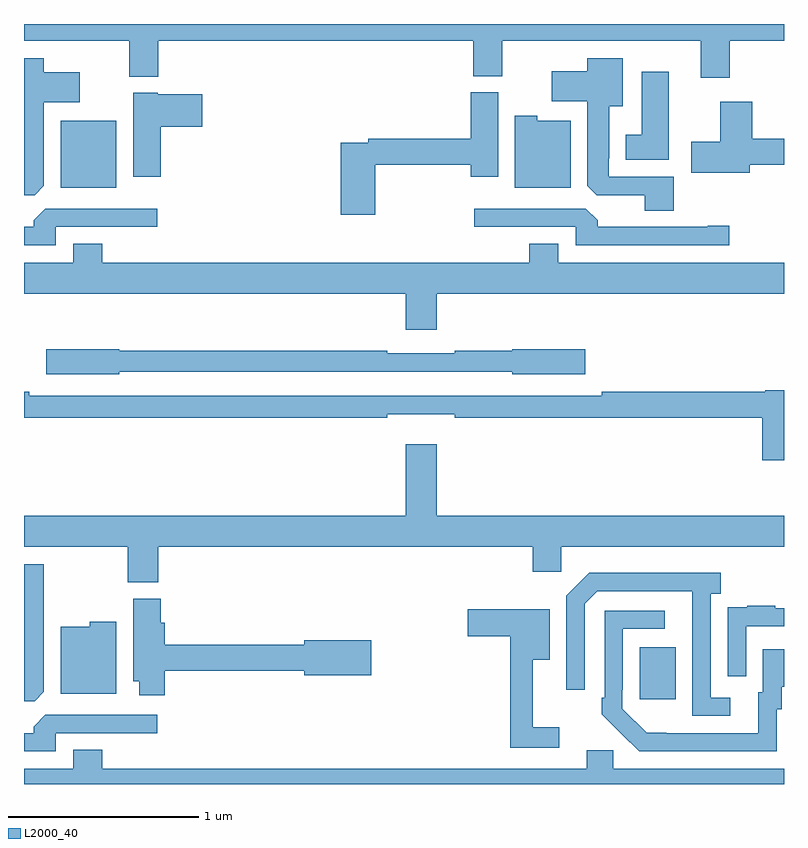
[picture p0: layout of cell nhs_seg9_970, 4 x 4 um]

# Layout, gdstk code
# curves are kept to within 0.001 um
import gdstk
lib = gdstk.Library(unit=1e-6, precision=1e-09)
def R(c, l, rs):  # rectangles x0, y0, x1, y1
    for r in rs: c.add(gdstk.rectangle(r[:2], r[2:], *l))
def P(c, l, *ps):  # polygons
    for p in ps: c.add(gdstk.Polygon(p, *l))
L2000_40 = (2000, 40)

nhs_seg9_970 = lib.new_cell('nhs_seg9_970')
R(nhs_seg9_970, L2000_40, [(166.241,1200.945,166.429,1201.219), (163.193,1203.638,163.486,1203.991)])
P(nhs_seg9_970, L2000_40, [(166.715,1204.412),(167,1204.412),(167,1204.5),(163,1204.5),(163,1204.412),(163.553,1204.412),(163.553,1204.223),(163.706,1204.223),(163.706,1204.412),(165.365,1204.412),(165.365,1204.225),(165.517,1204.225),(165.517,1204.412),(166.562,1204.412),(166.562,1204.218),(166.715,1204.218)],
  [(163.105,1203.649),(163.105,1204.088),(163.294,1204.088),(163.294,1204.246),(163.105,1204.246),(163.105,1204.321),(163,1204.321),(163,1203.6),(163.056,1203.6)],
  [(166.421,1203.696),(166.077,1203.696),(166.077,1203.793),(166.081,1203.793),(166.081,1204.067),(166.15,1204.067),(166.15,1204.321),(165.965,1204.321),(165.965,1204.252),(165.777,1204.252),(165.777,1204.094),(165.965,1204.094),(165.965,1203.649),(166.014,1203.6),(166.268,1203.6),(166.268,1203.517),(166.421,1203.517)],
  [(166.393,1204.249),(166.25,1204.249),(166.25,1203.916),(166.166,1203.916),(166.166,1203.785),(166.393,1203.785)],
  [(164.849,1203.76),(165.35,1203.76),(165.35,1203.696),(165.496,1203.696),(165.496,1204.14),(165.35,1204.14),(165.35,1203.896),(164.812,1203.896),(164.812,1203.876),(164.666,1203.876),(164.666,1203.495),(164.849,1203.495)],
  [(163.721,1203.959),(163.939,1203.959),(163.939,1204.129),(163.704,1204.129),(163.704,1204.138),(163.574,1204.138),(163.574,1203.696),(163.721,1203.696)],
  [(166.819,1203.76),(167,1203.76),(167,1203.896),(166.832,1203.896),(166.832,1204.09),(166.664,1204.09),(166.664,1203.879),(166.512,1203.879),(166.512,1203.716),(166.819,1203.716)],
  [(165.877,1203.991),(165.702,1203.991),(165.702,1204.018),(165.584,1204.018),(165.584,1203.638),(165.877,1203.638)],
  [(166.711,1203.437),(166.598,1203.437),(166.598,1203.432),(166.019,1203.432),(166.019,1203.466),(165.957,1203.528),(165.369,1203.528),(165.369,1203.432),(165.903,1203.432),(165.903,1203.336),(166.711,1203.336)],
  [(163.167,1203.432),(163.702,1203.432),(163.702,1203.528),(163.113,1203.528),(163.052,1203.466),(163.052,1203.432),(163,1203.432),(163,1203.336),(163.167,1203.336)],
  [(165.172,1203.08),(167,1203.08),(167,1203.244),(165.811,1203.244),(165.811,1203.343),(165.659,1203.343),(165.659,1203.244),(163.412,1203.244),(163.412,1203.343),(163.259,1203.343),(163.259,1203.244),(163,1203.244),(163,1203.08),(165.008,1203.08),(165.008,1202.892),(165.172,1202.892)],
  [(163.5,1202.67),(165.57,1202.67),(165.57,1202.657),(165.955,1202.657),(165.955,1202.787),(165.57,1202.787),(165.57,1202.779),(165.268,1202.779),(165.268,1202.766),(164.912,1202.766),(164.912,1202.779),(163.5,1202.779),(163.5,1202.787),(163.116,1202.787),(163.116,1202.657),(163.5,1202.657)],
  [(167,1202.572),(166.902,1202.572),(166.902,1202.564),(166.042,1202.564),(166.042,1202.544),(163.028,1202.544),(163.028,1202.564),(163,1202.564),(163,1202.428),(164.912,1202.428),(164.912,1202.447),(165.268,1202.447),(165.268,1202.428),(166.886,1202.428),(166.886,1202.205),(167,1202.205)],
  [(163.706,1201.748),(165.677,1201.748),(165.677,1201.617),(165.828,1201.617),(165.828,1201.748),(167,1201.748),(167,1201.912),(165.172,1201.912),(165.172,1202.287),(165.008,1202.287),(165.008,1201.912),(163,1201.912),(163,1201.748),(163.546,1201.748),(163.546,1201.561),(163.706,1201.561)],
  [(163.105,1200.985),(163.105,1201.657),(163,1201.657),(163,1200.936),(163.056,1200.936)],
  [(166.717,1200.954),(166.614,1200.954),(166.614,1201.502),(166.666,1201.502),(166.666,1201.612),(165.976,1201.612),(165.855,1201.491),(165.855,1200.996),(165.951,1200.996),(165.951,1201.449),(166.017,1201.515),(166.517,1201.515),(166.518,1200.858),(166.717,1200.858)],
  [(163.742,1201.096),(164.474,1201.096),(164.474,1201.073),(164.827,1201.073),(164.827,1201.256),(164.474,1201.256),(164.474,1201.232),(163.742,1201.232),(163.742,1201.35),(163.721,1201.35),(163.721,1201.476),(163.574,1201.476),(163.574,1201.04),(163.607,1201.04),(163.607,1200.966),(163.742,1200.966)],
  [(166.8,1201.329),(167,1201.329),(167,1201.425),(166.955,1201.425),(166.955,1201.438),(166.807,1201.438),(166.807,1201.431),(166.705,1201.431),(166.705,1201.322),(166.704,1201.322),(166.704,1201.068),(166.8,1201.068)],
  [(165.817,1200.799),(165.677,1200.799),(165.677,1201.154),(165.766,1201.154),(165.766,1201.419),(165.336,1201.419),(165.336,1201.277),(165.559,1201.277),(165.559,1200.69),(165.817,1200.69)],
  [(166.962,1200.894),(166.987,1200.894),(166.987,1201.013),(167,1201.013),(167,1201.21),(166.889,1201.21),(166.889,1200.984),(166.865,1200.984),(166.865,1200.768),(166.278,1200.769),(166.149,1200.897),(166.149,1200.997),(166.152,1200.997),(166.152,1201.317),(166.372,1201.317),(166.372,1201.413),(166.056,1201.413),(166.056,1200.955),(166.041,1200.955),(166.041,1200.867),(166.238,1200.672),(166.962,1200.672)],
  [(163.486,1201.354),(163.347,1201.354),(163.347,1201.327),(163.193,1201.327),(163.193,1200.974),(163.486,1200.974)],
  [(163.167,1200.768),(163.702,1200.768),(163.702,1200.864),(163.113,1200.864),(163.052,1200.802),(163.052,1200.768),(163,1200.768),(163,1200.672),(163.167,1200.672)],
  [(167,1200.58),(166.101,1200.58),(166.101,1200.678),(165.962,1200.678),(165.962,1200.58),(163.412,1200.58),(163.412,1200.679),(163.259,1200.679),(163.259,1200.58),(163,1200.58),(163,1200.5),(167,1200.5)])

lib.write_gds('nhs_seg9_970.gds')
